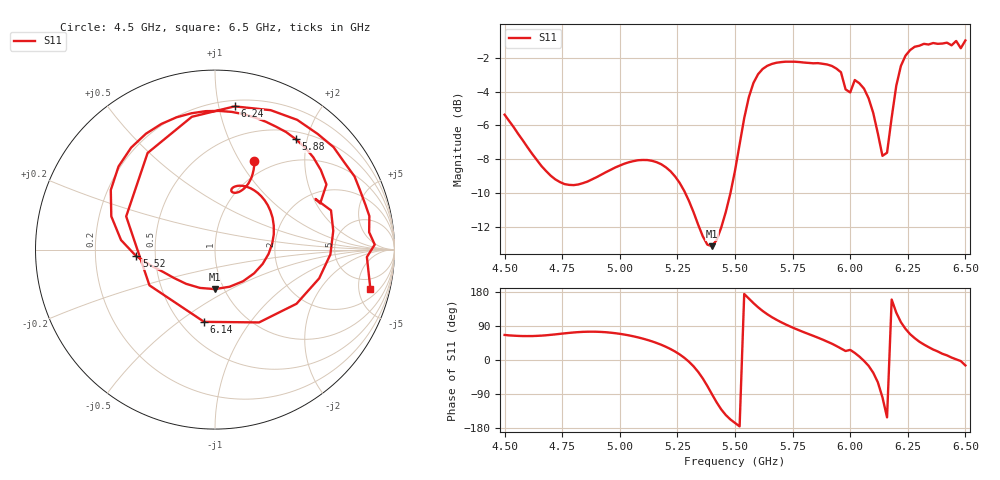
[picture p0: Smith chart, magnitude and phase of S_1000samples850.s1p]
! TOUCHSTONE file generated by CST MICROWAVE STUDIO
! Date and time: Sat Oct 29 14:34:39 2022
! Project name: L.cst
! Parameters = {Di=1.27; Epsilon_r=1.56; InnerDiameter=1.27; Length=2; Lf=10; Lg=60; OuterConductorThickness=0.2921; OuterDiameter=3.6; Wf=3; Wp=41.2; de=1.5; df=6.8; g=0.8; gx=1.15107; gy=2.71836; h=2.34; hf=1.524; px=13.2969; py=10.3225; w=9.7; wx=12.1459; wy=7.6041}
! Header version: 2018
! Port assignment regex: !\s*Touchstone port\s*([0-9]+)\s*=\s*(CST MWS port|CST DS port)\s*([0-9]+|Zmin|Zmax)\s*\(\"(.*)\"\)(\s*mode\s*([0-9]+))?.*
! Touchstone port assignment:
! Touchstone port 1 = CST MWS port 1 ("")
# GHz S DB R 50
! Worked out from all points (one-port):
!   101 points, 4.5 GHz to 6.5 GHz, reference 50 ohm
!   lowest |S11| = -13.1 dB at 5.4 GHz (marker M1), VSWR 1.56, Z = 45.3 - j20.9 ohm
!   |S11| at or under -10 dB: 5.284 GHz to 5.48 GHz (196.5 MHz wide, 3.65 % of centre)
!   S11 on the Smith chart (normalised r, x): 4.5 GHz: 0.83, +1.15; 5.52 GHz: 0.39, -0.04; 5.88 GHz: 0.61, +1.80; 6.14 GHz: 0.65, -0.63; 6.24 GHz: 0.25, +1.12; 6.5 GHz: 3.04, -6.62
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4.5  -5.37 66.1
4.76  -9.48 70.3
5  -8.38 69.1
5.14  -8.10 49.1
5.26  -9.41 14.6
5.32  -11.14 -16.6
5.4  -13.15 -90.3
5.5  -8.69 -166.1
5.52  -7.13 -175.2
5.58  -3.49 150.2
5.64  -2.48 120.8
5.76  -2.24 83.0
5.88  -2.36 53.9
5.96  -2.86 30.3
6  -4.05 26.7
6.04  -3.52 9.0
6.08  -4.41 -15.4
6.12  -6.48 -58.8
6.14  -7.81 -98.6
6.16  -7.62 -151.4
6.18  -5.54 159.5
6.2  -3.66 124.9
6.24  -1.88 82.2
6.26  -1.55 68.2
6.3  -1.29 48.4
6.36  -1.13 27.7
6.48  -1.44 -2.8
6.5  -0.98 -14.3
